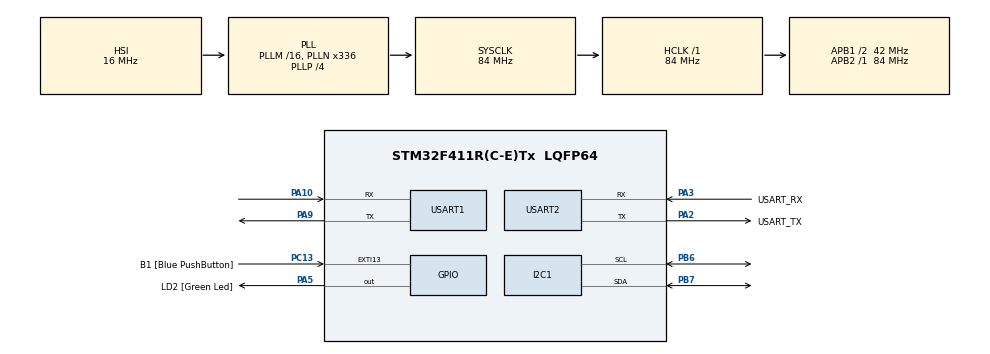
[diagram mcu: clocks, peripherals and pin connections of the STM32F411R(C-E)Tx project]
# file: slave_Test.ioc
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I2C1.GeneralCallMode=I2C_GENERALCALL_ENABLE
I2C1.NoStretchMode=I2C_NOSTRETCH_ENABLE
I2C1.OwnAddress=41
Mcu.Family=STM32F4
Mcu.Name=STM32F411R(C-E)Tx
Mcu.Package=LQFP64
NVIC.PriorityGroup=NVIC_PRIORITYGROUP_0
PA10.Mode=Asynchronous
PA10.Signal=USART1_RX
PA13.GPIO_Label=TMS
PA13.Mode=Serial_Wire
PA13.Signal=SYS_JTMS-SWDIO
PA14.GPIO_Label=TCK
PA14.Mode=Serial_Wire
PA14.Signal=SYS_JTCK-SWCLK
PA2.GPIO_Label=USART_TX
PA2.Mode=Asynchronous
PA2.Signal=USART2_TX
PA3.GPIO_Label=USART_RX
PA3.Mode=Asynchronous
PA3.Signal=USART2_RX
PA5.GPIO_Label=LD2 [Green Led]
PA5.Signal=GPIO_Output
PA9.Mode=Asynchronous
PA9.Signal=USART1_TX
PB3.GPIO_Label=SWO
PB3.Signal=SYS_JTDO-SWO
PB6.Mode=I2C
PB6.Signal=I2C1_SCL
PB7.Mode=I2C
PB7.Signal=I2C1_SDA
PC13-ANTI_TAMP.GPIO_Label=B1 [Blue PushButton]
PC13-ANTI_TAMP.GPIO_ModeDefaultEXTI=GPIO_MODE_IT_FALLING
PC13-ANTI_TAMP.Signal=GPXTI13
PC14-OSC32_IN.Mode=LSE-External-Oscillator
PC14-OSC32_IN.Signal=RCC_OSC32_IN
PC15-OSC32_OUT.Mode=LSE-External-Oscillator
PC15-OSC32_OUT.Signal=RCC_OSC32_OUT
PH0\ -\ OSC_IN.Mode=HSE-External-Clock-Source
PH0\ -\ OSC_IN.Signal=RCC_OSC_IN
PH1\ -\ OSC_OUT.Mode=HSE-External-Clock-Source
PH1\ -\ OSC_OUT.Signal=RCC_OSC_OUT
ProjectManager.HeapSize=0x200
ProjectManager.StackSize=0x400
ProjectManager.TargetToolchain=TrueSTUDIO
RCC.48MHZClocksFreq_Value=84000000
RCC.AHBFreq_Value=84000000
RCC.APB1CLKDivider=RCC_HCLK_DIV2
RCC.APB1Freq_Value=42000000
RCC.APB1TimFreq_Value=84000000
RCC.APB2Freq_Value=84000000
RCC.APB2TimFreq_Value=84000000
RCC.CortexFreq_Value=84000000
RCC.FLatency-AdvancedSettings=FLASH_LATENCY_2
RCC.HCLKFreq_Value=84000000
RCC.HSE_VALUE=8000000
RCC.HSI_VALUE=16000000
RCC.PLLN=336
RCC.PLLP=RCC_PLLP_DIV4
RCC.SYSCLKFreq_VALUE=84000000
RCC.SYSCLKSource=RCC_SYSCLKSOURCE_PLLCLK
RCC.VCOOutputFreq_Value=336000000
USART1.VirtualMode=VM_ASYNC
USART2.VirtualMode=VM_ASYNC
board=NUCLEO-F411RE

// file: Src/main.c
/**
  ******************************************************************************
  * @file           : main.c
  * @brief          : Main program body
  ******************************************************************************
  ** This notice applies to any and all portions of this file
  * that are not between comment pairs USER CODE BEGIN and
  * USER CODE END. Other portions of this file, whether
  * inserted by the user or by software development tools
  * are owned by their respective copyright owners.
  *
  * COPYRIGHT(c) 2019 STMicroelectronics
  *
  * Redistribution and use in source and binary forms, with or without modification,
  * are permitted provided that the following conditions are met:
  *   1. Redistributions of source code must retain the above copyright notice,
  *      this list of conditions and the following disclaimer.
  *   2. Redistributions in binary form must reproduce the above copyright notice,
  *      this list of conditions and the following disclaimer in the documentation
  *      and/or other materials provided with the distribution.
  *   3. Neither the name of STMicroelectronics nor the names of its contributors
  *      may be used to endorse or promote products derived from this software
  *      without specific prior written permission.
  *
  * THIS SOFTWARE IS PROVIDED BY THE COPYRIGHT HOLDERS AND CONTRIBUTORS "AS IS"
  * AND ANY EXPRESS OR IMPLIED WARRANTIES, INCLUDING, BUT NOT LIMITED TO, THE
  * IMPLIED WARRANTIES OF MERCHANTABILITY AND FITNESS FOR A PARTICULAR PURPOSE ARE
  * DISCLAIMED. IN NO EVENT SHALL THE COPYRIGHT HOLDER OR CONTRIBUTORS BE LIABLE
  * FOR ANY DIRECT, INDIRECT, INCIDENTAL, SPECIAL, EXEMPLARY, OR CONSEQUENTIAL
  * DAMAGES (INCLUDING, BUT NOT LIMITED TO, PROCUREMENT OF SUBSTITUTE GOODS OR
  * SERVICES; LOSS OF USE, DATA, OR PROFITS; OR BUSINESS INTERRUPTION) HOWEVER
  * CAUSED AND ON ANY THEORY OF LIABILITY, WHETHER IN CONTRACT, STRICT LIABILITY,
  * OR TORT (INCLUDING NEGLIGENCE OR OTHERWISE) ARISING IN ANY WAY OUT OF THE USE
  * OF THIS SOFTWARE, EVEN IF ADVISED OF THE POSSIBILITY OF SUCH DAMAGE.
  *
  ******************************************************************************
  */
#include "main.h"
#include "stm32f4xx_hal.h"
#include "i2c.h"
#include "usart.h"
#include "gpio.h"

/* USER CODE BEGIN PV */
/* Private variables ---------------------------------------------------------*/

/* USER CODE END PV */

void SystemClock_Config(void);

/* USER CODE BEGIN PFP */
/* Private function prototypes -----------------------------------------------*/

/* USER CODE END PFP */

/* USER CODE BEGIN 0 */

typedef enum
{
  Waiting       = 0x00U,
  Processing    = 0x01U,
  Sending       = 0x02U,
} states;

/* USER CODE END 0 */

int main(void)
{

  /* MCU Configuration----------------------------------------------------------*/

  /* Reset of all peripherals, Initializes the Flash interface and the Systick. */
  HAL_Init();

  /* Configure the system clock */
  SystemClock_Config();

  /* Initialize all configured peripherals */
  MX_GPIO_Init();
  MX_USART2_UART_Init();
  MX_I2C1_Init();
  MX_USART1_UART_Init();
  /* USER CODE BEGIN 2 */
   states state = Waiting;
   uint8_t buffer[3] = {0x10,0x11,0x12};
  /* USER CODE END 2 */

  /* Infinite loop */
  while (1)
  {

  /* USER CODE BEGIN 3 */
	  switch(state)
	  {
	    case Waiting :
		    printf("Waiting for i2c Communication\n");
	    	while ( HAL_I2C_Slave_Receive( &hi2c1 , buffer, 3, 500) != HAL_OK )
		    {
		    }
	  	    printf ("Data Gathered\n");
		    state = Processing;
		    break;
	    case Processing :
		    if ( buffer[0] == 0x00 && buffer[1] == 0x01 && buffer[2] == 0x03)
		    {
		    	printf ("data respect the protocol\n");
		  	    state = Processing;
		    }
		    else {
			    printf ("data is not the expected\n");
			    state = Waiting;
		    }
		    break;
	    case Sending :
		    buffer[0] = 0x99;
		    buffer[1] = 0x98;
		    buffer[2] = 0x97;
		    if( HAL_I2C_Slave_Transmit( &hi2c1 , buffer, 3, 1000) == HAL_OK )
		    {
			    printf ("The slave send data as supposed to be\n");
			    state = Waiting;
		    }
		    break;
	  }
 }
  /* USER CODE END 3 */

}

void SystemClock_Config(void)
{

  RCC_OscInitTypeDef RCC_OscInitStruct;
  RCC_ClkInitTypeDef RCC_ClkInitStruct;

    /**Configure the main internal regulator output voltage
    */
  __HAL_RCC_PWR_CLK_ENABLE();

  __HAL_PWR_VOLTAGESCALING_CONFIG(PWR_REGULATOR_VOLTAGE_SCALE1);

    /**Initializes the CPU, AHB and APB busses clocks
    */
  RCC_OscInitStruct.OscillatorType = RCC_OSCILLATORTYPE_HSI;
  RCC_OscInitStruct.HSIState = RCC_HSI_ON;
  RCC_OscInitStruct.HSICalibrationValue = 16;
  RCC_OscInitStruct.PLL.PLLState = RCC_PLL_ON;
  RCC_OscInitStruct.PLL.PLLSource = RCC_PLLSOURCE_HSI;
  RCC_OscInitStruct.PLL.PLLM = 16;
  RCC_OscInitStruct.PLL.PLLN = 336;
  RCC_OscInitStruct.PLL.PLLP = RCC_PLLP_DIV4;
  RCC_OscInitStruct.PLL.PLLQ = 4;
  if (HAL_RCC_OscConfig(&RCC_OscInitStruct) != HAL_OK)
  {
    _Error_Handler(__FILE__, __LINE__);
  }

    /**Initializes the CPU, AHB and APB busses clocks
    */
  RCC_ClkInitStruct.ClockType = RCC_CLOCKTYPE_HCLK|RCC_CLOCKTYPE_SYSCLK
                              |RCC_CLOCKTYPE_PCLK1|RCC_CLOCKTYPE_PCLK2;
  RCC_ClkInitStruct.SYSCLKSource = RCC_SYSCLKSOURCE_PLLCLK;
  RCC_ClkInitStruct.AHBCLKDivider = RCC_SYSCLK_DIV1;
  RCC_ClkInitStruct.APB1CLKDivider = RCC_HCLK_DIV2;
  RCC_ClkInitStruct.APB2CLKDivider = RCC_HCLK_DIV1;

  if (HAL_RCC_ClockConfig(&RCC_ClkInitStruct, FLASH_LATENCY_2) != HAL_OK)
  {
    _Error_Handler(__FILE__, __LINE__);
  }

    /**Configure the Systick interrupt time
    */
  HAL_SYSTICK_Config(HAL_RCC_GetHCLKFreq()/1000);

    /**Configure the Systick
    */
  HAL_SYSTICK_CLKSourceConfig(SYSTICK_CLKSOURCE_HCLK);

  /* SysTick_IRQn interrupt configuration */
  HAL_NVIC_SetPriority(SysTick_IRQn, 0, 0);
}

/* USER CODE BEGIN 4 */
/**
  * @brief  This function is executed when printf function is called.
  */

/* USER CODE END 4 */

void _Error_Handler(char *file, int line)
{
  while(1)
  {
  }
}

/************************ (C) COPYRIGHT STMicroelectronics *****END OF FILE****/
